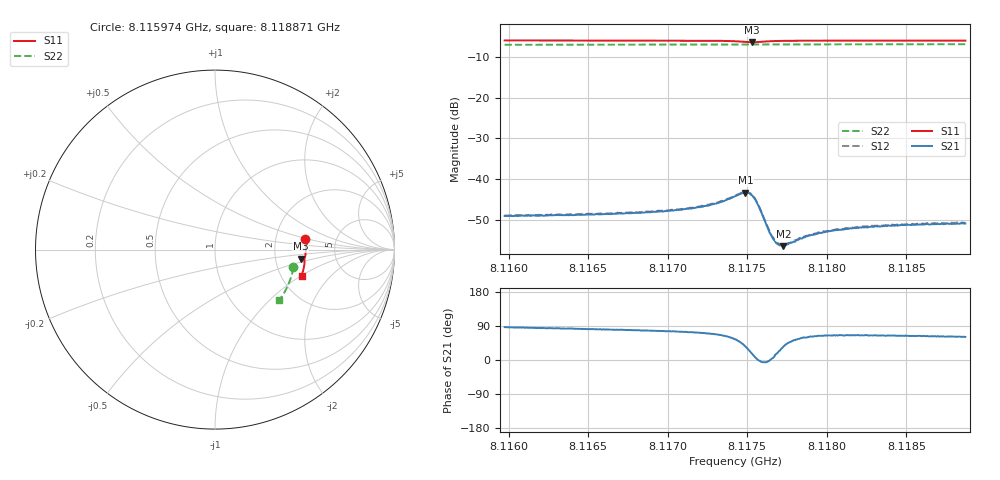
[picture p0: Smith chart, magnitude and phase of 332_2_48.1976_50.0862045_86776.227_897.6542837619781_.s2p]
#  HZ  S  RI  R  50.00
! Rohde & Schwarz Vector Network Analyzer
! Rohde-Schwarz,ZNB20-2Port,1311601062101988,3.16
! Created: UTC 3/20/2024, 11:50:56 AM
! freq[Hz]  re:S11  im:S11  re:S21  im:S21  re:S12  im:S12  re:S22  im:S22
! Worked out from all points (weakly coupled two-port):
!   401 points, 8.115974 GHz to 8.118871 GHz, reference 50 ohm
!   highest |S21| = -43.38 dB at 8.117488 GHz (marker M1); lowest = -56.6 dB at 8.117727 GHz (marker M2)
!   lowest |S11| = -6.3 dB at 8.117531 GHz (marker M3), VSWR 2.86, Z = 140 - j18.4 ohm
!   |S11| at or under -10 dB: nowhere
!   |S22| runs from -7.0 to -6.8 dB; largest |S21 - S12| = 0.00018
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8.1159744e9  0.5038 0.06  0.000202 0.00349  0.00026 0.00354  0.4372 -0.0994
8.1164596e9  0.5062 0.0236  0.000525 0.00357  0.000561 0.00367  0.43 -0.1323
8.1169449e9  0.5057 -0.0139  0.000891 0.00387  0.000999 0.00393  0.4201 -0.1647
8.1170825e9  0.5047 -0.0249  0.0011 0.00401  0.00116 0.00411  0.4166 -0.1737
8.117249e9  0.5023 -0.0392  0.0016 0.00439  0.00167 0.0045  0.4123 -0.1846
8.1173359e9  0.4996 -0.0475  0.00214 0.00475  0.00229 0.00485  0.4099 -0.1903
8.1174229e9  0.4931 -0.0562  0.00351 0.00501  0.00366 0.00507  0.4075 -0.1959
8.117488e9  0.483 -0.0575  0.0055 0.00396  0.00563 0.00399  0.4052 -0.1997
8.1175098e9  0.4798 -0.0548  0.006 0.00296  0.00611 0.00293  0.4045 -0.2008
8.1175315e9  0.4788 -0.0505  0.00599 0.00168  0.00611 0.00165  0.4037 -0.202
8.1175532e9  0.4806 -0.0464  0.00543 0.000528  0.0055 0.000492  0.4035 -0.2032
8.1175677e9  0.4829 -0.045  0.00478 3.72e-06  0.00489 1.24e-06  0.4032 -0.2039
8.1176329e9  0.4933 -0.0473  0.00238 -0.000142  0.00243 -0.000141  0.4017 -0.2082
8.1176546e9  0.4953 -0.0496  0.00195 0.000124  0.00198 0.000111  0.4011 -0.2095
8.1176691e9  0.4963 -0.0512  0.00174 0.000257  0.0018 0.000243  0.4008 -0.2106
8.1176908e9  0.4974 -0.0539  0.00149 0.000507  0.00154 0.000516  0.4003 -0.212
8.117727e9  0.4984 -0.0579  0.00121 0.000859  0.00126 0.000881  0.3991 -0.2142
8.1179081e9  0.4986 -0.0752  0.000965 0.00181  0.000998 0.00184  0.3934 -0.2258
8.1180095e9  0.4976 -0.0837  0.000958 0.00204  0.00099 0.00205  0.3899 -0.2321
8.1181326e9  0.4961 -0.0934  0.00101 0.0022  0.00102 0.00226  0.3861 -0.2398
8.1183933e9  0.4918 -0.1133  0.00114 0.0024  0.00112 0.00241  0.3766 -0.2555
8.1188713e9  0.4822 -0.148  0.00137 0.00246  0.00141 0.00254  0.3579 -0.2833
